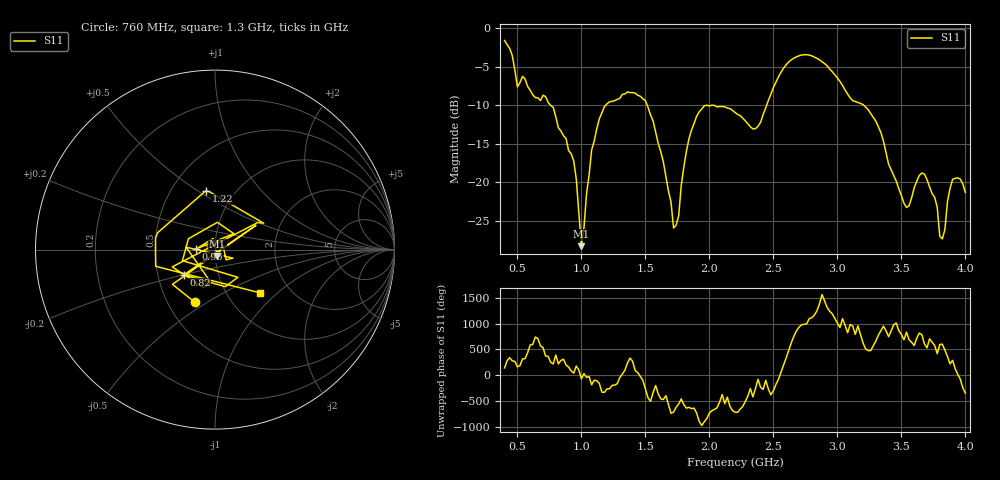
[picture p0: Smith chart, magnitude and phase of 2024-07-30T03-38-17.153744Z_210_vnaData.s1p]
!Created with skrf (http://scikit-rf.org).
# Hz S RI R 50.0
!freq ReS11 ImS11
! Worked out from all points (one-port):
!   181 points, 400 MHz to 4 GHz, reference 50 ohm
!   lowest |S11| = -28.3 dB at 1 GHz (marker M1), VSWR 1.08, Z = 51.3 - j3.67 ohm
!   |S11| at or under -10 dB: 757 MHz to 1.191 GHz (434.5 MHz wide, 44.6 % of centre); 1.513 GHz to 2.448 GHz (934.5 MHz wide, 47.2 % of centre); 3.203 GHz to end of sweep
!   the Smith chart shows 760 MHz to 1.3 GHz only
!   S11 on the Smith chart (normalised r, x): 760 MHz: 0.68, -0.44; 820 MHz: 0.68, -0.20; 960 MHz: 0.81, +0.01; 1.22 GHz: 0.73, +0.54; 1.3 GHz: 1.42, -0.78
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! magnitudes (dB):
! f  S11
! 400 MHz  -1.6
! 500 MHz  -7.6
! 760 MHz  -10.1
! 820 MHz  -13.0
! 860 MHz  -14.0
! 960 MHz  -19.6
! 1 GHz  -28.3
! 1.08 GHz  -15.8
! 1.22 GHz  -9.6
! 1.3 GHz  -9.1
! 1.5 GHz  -9.4
! 1.64 GHz  -17.4
! 1.72 GHz  -26.0
! 1.76 GHz  -24.4
! 1.82 GHz  -16.0
! 1.9 GHz  -11.5
! 2.2 GHz  -11.0
! 2.36 GHz  -13.1
! 2.66 GHz  -3.9
! 2.86 GHz  -4.1
! 3.1 GHz  -9.1
! 3.3 GHz  -12.1
! 3.56 GHz  -23.1
! 3.68 GHz  -19.0
! 3.76 GHz  -22.0
! 3.82 GHz  -27.4
! 3.9 GHz  -19.7
! 4 GHz  -21.4
